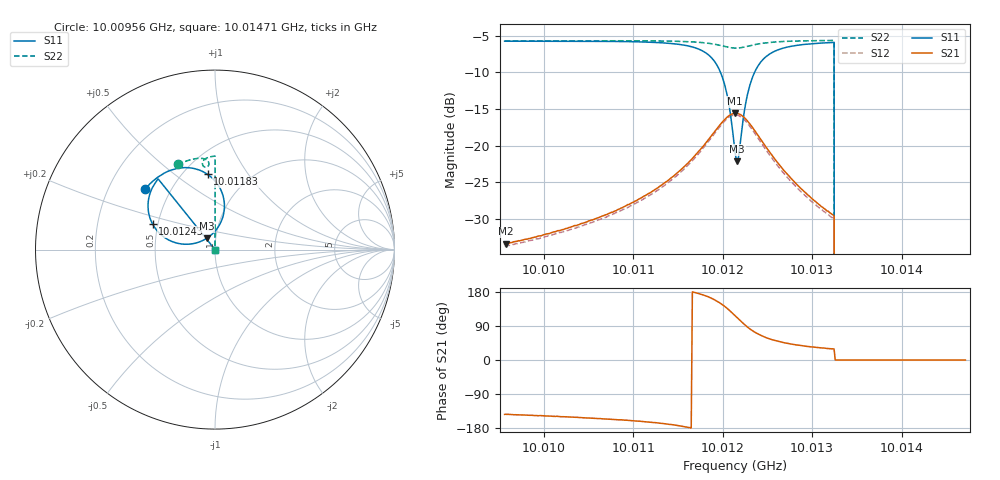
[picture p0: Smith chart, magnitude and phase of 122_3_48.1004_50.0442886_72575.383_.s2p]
#  HZ  S  RI  R  50.00
! Rohde & Schwarz Vector Network Analyzer
! Rohde-Schwarz,ZNB20-2Port,1311601062101988,3.16
! Created: UTC 12/23/2023, 3:46:52 AM
! freq[Hz]  re:S11  im:S11  re:S21  im:S21  re:S12  im:S12  re:S22  im:S22
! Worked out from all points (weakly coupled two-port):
!   401 points, 10.00956 GHz to 10.01471 GHz, reference 50 ohm
!   highest |S21| = -15.59 dB at 10.01214 GHz (marker M1); lowest = -33.4 dB at 10.00957 GHz (marker M2)
!   lowest |S11| = -22.2 dB at 10.01216 GHz (marker M3), VSWR 1.17, Z = 45.3 + j5.73 ohm
!   |S11| at or under -10 dB: 10.01197 GHz to 10.01236 GHz (382.5 kHz wide, 0.00382 % of centre); 10.01325 GHz to end of sweep
!   |S22| runs from - to -5.7 dB; largest |S21 - S12| = 0.0081
!   S11 on the Smith chart (normalised r, x): 10.00956 GHz: 0.36, +0.33; 10.01183 GHz: 0.65, +0.67; 10.01243 GHz: 0.47, +0.16; 10.01471 GHz: 1.00, +0.00
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1.0009559e10  -0.3883 0.3384  -0.0172 -0.0127  -0.0159 -0.0132  -0.2081 0.4743
1.0009572e10  -0.3875 0.3393  -0.0171 -0.0128  -0.016 -0.0132  -0.2073 0.4748
1.0010423e10  -0.3331 0.3924  -0.0261 -0.0137  -0.0244 -0.0144  -0.1542 0.4953
1.0011286e10  -0.231 0.4473  -0.0508 -0.0123  -0.0482 -0.0144  -0.0931 0.5084
1.0011583e10  -0.1546 0.4567  -0.0731 -0.00439  -0.0701 -0.00807  -0.0677 0.5076
1.0011827e10  -0.0412 0.4192  -0.105 0.0228  -0.1029 0.017  -0.0437 0.4975
1.0011931e10  0.0192 0.3568  -0.1181 0.053  -0.1177 0.0454  -0.0356 0.4868
1.0012008e10  0.0504 0.2721  -0.1196 0.0868  -0.1205 0.079  -0.0339 0.4752
1.0012072e10  0.0432 0.1798  -0.1059 0.1205  -0.1084 0.113  -0.0382 0.4653
1.0012137e10  -0.0114 0.0903  -0.0755 0.1481  -0.0791 0.1413  -0.048 0.4595
1.0012163e10  -0.046 0.0629  -0.0596 0.1546  -0.0633 0.1483  -0.0527 0.4592
1.0012188e10  -0.085 0.0434  -0.0435 0.1578  -0.0473 0.1518  -0.0572 0.4601
1.001224e10  -0.1665 0.0298  -0.0116 0.1549  -0.0162 0.1494  -0.0647 0.4651
1.0012291e10  -0.2387 0.0447  0.0147 0.1428  0.00952 0.1379  -0.0691 0.4728
1.0012356e10  -0.3039 0.0858  0.0357 0.1219  0.0295 0.1182  -0.0698 0.4828
1.0012433e10  -0.3482 0.1431  0.047 0.0976  0.0419 0.0947  -0.0662 0.493
1.0012678e10  -0.371 0.2756  0.0475 0.0491  0.0432 0.0489  -0.0456 0.5106
1.0013e10  -0.3411 0.3589  0.0357 0.0247  0.0328 0.025  -0.0184 0.5186
1.0013219e10  -0.3191 0.3907  0.0296 0.0168  0.0274 0.0173  -0.0016 0.5209
1.0013284e10  0 0  0 0  0 0  0 0
1.0013864e10  0 0  0 0  0 0  0 0
1.0014714e10  0 0  0 0  0 0  0 0
